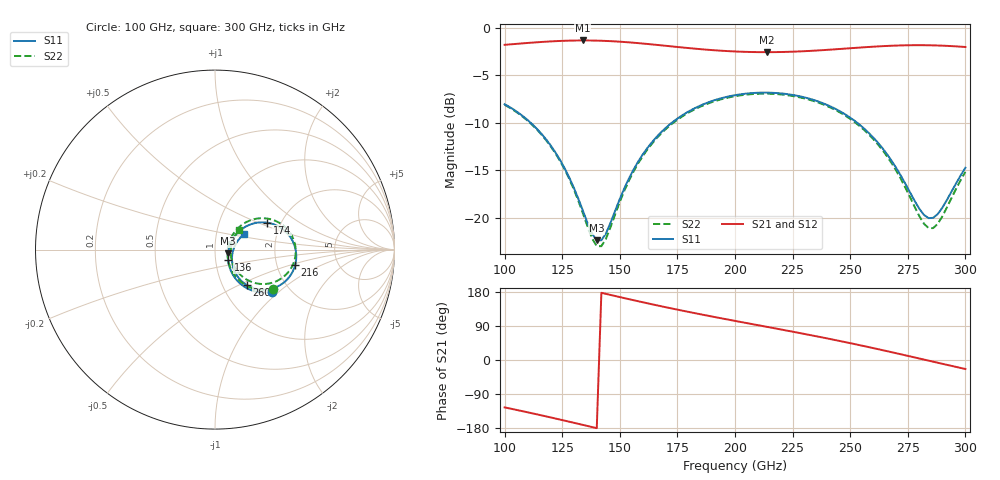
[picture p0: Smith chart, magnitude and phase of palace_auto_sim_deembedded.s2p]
! Created with skrf 1.11.0 (http://scikit-rf.org).
# GHz S DB R 50.0
!freq dBS11 angS11 dBS21 angS21 dBS12 angS12 dBS22 angS22
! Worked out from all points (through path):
!   101 points, 100 GHz to 300 GHz, reference 50 ohm
!   highest |S21| = -1.34 dB at 134 GHz (marker M1); lowest = -2.6 dB at 214 GHz (marker M2)
!   group delay of S21, straight-line fit = 3.51 ps
!   lowest |S11| = -22.4 dB at 140 GHz (marker M3), VSWR 1.16, Z = 57.9 - j2.35 ohm
!   |S11| at or under -10 dB: 111.3 GHz to 172.6 GHz (61.27 GHz wide, 43.2 % of centre); 253 GHz to end of sweep
!   |S22| runs from -23.0 to -6.9 dB; largest |S21 - S12| = 1.4e-12
!   S11 on the Smith chart (normalised r, x): 100 GHz: 1.62, -0.91; 136 GHz: 1.15, -0.14; 174 GHz: 1.69, +0.57; 216 GHz: 2.53, -0.55; 260 GHz: 1.30, -0.55; 300 GHz: 1.36, +0.24
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100  -8.04 -36.5  -1.80 -125.1  -1.80 -125.1  -8.11 -34.2
120  -12.39 -53.2  -1.44 -151.6  -1.44 -151.6  -12.48 -50.8
128  -15.73 -54.3  -1.36 -162.8  -1.36 -162.8  -15.87 -52.2
134  -19.26 -45.8  -1.34 -171.3  -1.34 -171.3  -19.54 -44.0
136  -20.55 -38.8  -1.34 -174.1  -1.34 -174.1  -20.92 -37.1
140  -22.38 -15.4  -1.36 -179.8  -1.36 -179.8  -22.97 -12.6
144  -21.63 12.1  -1.39 174.5  -1.39 174.5  -22.19 17.1
152  -16.87 35.5  -1.50 163.3  -1.50 163.3  -17.13 41.2
158  -14.07 37.3  -1.62 155.0  -1.62 155.0  -14.26 42.9
168  -10.98 32.2  -1.86 141.8  -1.86 141.8  -11.12 37.7
174  -9.73 27.4  -2.00 134.2  -2.00 134.2  -9.86 33.0
186  -8.08 16.7  -2.28 119.5  -2.28 119.5  -8.20 22.4
200  -7.10 3.8  -2.50 103.2  -2.50 103.2  -7.21 9.6
214  -6.83 -9.2  -2.57 87.3  -2.57 87.3  -6.94 -3.1
216  -6.84 -11.0  -2.57 85.0  -2.57 85.0  -6.95 -5.0
234  -7.59 -27.6  -2.42 64.2  -2.42 64.2  -7.70 -21.4
248  -9.14 -39.9  -2.19 47.0  -2.19 47.0  -9.27 -33.7
260  -11.54 -48.2  -2.00 31.4  -2.00 31.4  -11.71 -42.4
268  -14.01 -50.1  -1.90 20.6  -1.90 20.6  -14.26 -44.8
284  -20.03 -15.0  -1.85 -1.6  -1.85 -1.6  -21.08 -8.3
288  -19.60 3.7  -1.87 -7.2  -1.87 -7.2  -20.63 13.2
300  -14.73 27.7  -2.03 -23.7  -2.03 -23.7  -15.17 38.9
